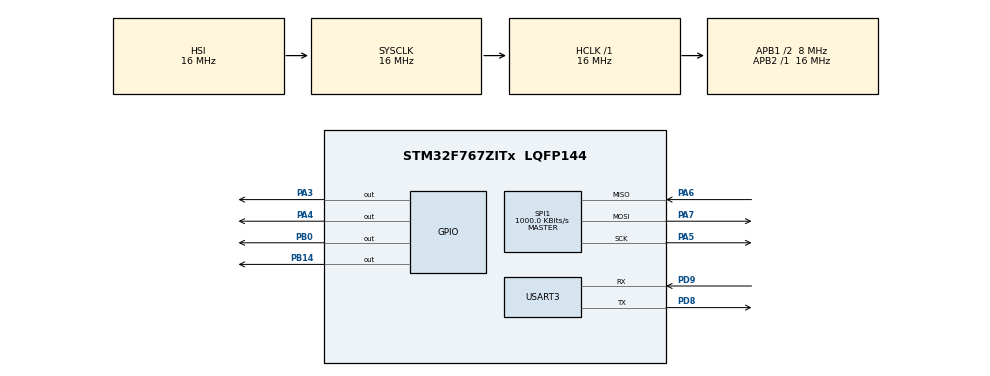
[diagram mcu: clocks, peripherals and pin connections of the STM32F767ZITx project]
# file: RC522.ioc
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Mcu.Family=STM32F7
Mcu.Name=STM32F767ZITx
Mcu.Package=LQFP144
NVIC.PriorityGroup=NVIC_PRIORITYGROUP_4
NVIC.USART3_IRQn=true\:0\:0\:false\:false\:true\:true\:true\:true
PA13.Mode=Serial_Wire
PA13.Signal=SYS_JTMS-SWDIO
PA14.Mode=Serial_Wire
PA14.Signal=SYS_JTCK-SWCLK
PA3.GPIO_Speed=GPIO_SPEED_FREQ_MEDIUM
PA3.Signal=GPIO_Output
PA4.GPIO_Speed=GPIO_SPEED_FREQ_HIGH
PA4.PinState=GPIO_PIN_SET
PA4.Signal=GPIO_Output
PA5.Mode=Full_Duplex_Master
PA5.Signal=SPI1_SCK
PA6.Mode=Full_Duplex_Master
PA6.Signal=SPI1_MISO
PA7.Mode=Full_Duplex_Master
PA7.Signal=SPI1_MOSI
PB0.Signal=GPIO_Output
PB14.Signal=GPIO_Output
PD8.Mode=Asynchronous
PD8.Signal=USART3_TX
PD9.Mode=Asynchronous
PD9.Signal=USART3_RX
PH0/OSC_IN.Mode=HSE-External-Clock-Source
PH0/OSC_IN.Signal=RCC_OSC_IN
PH1/OSC_OUT.Mode=HSE-External-Clock-Source
PH1/OSC_OUT.Signal=RCC_OSC_OUT
ProjectManager.HeapSize=0x200
ProjectManager.StackSize=0x400
ProjectManager.TargetToolchain=STM32CubeIDE
RCC.48MHZClocksFreq_Value=24000000
RCC.AHBFreq_Value=16000000
RCC.APB1CLKDivider=RCC_HCLK_DIV2
RCC.APB1Freq_Value=8000000
RCC.APB1TimFreq_Value=16000000
RCC.APB2Freq_Value=16000000
RCC.APB2TimFreq_Value=16000000
RCC.CortexFreq_Value=16000000
RCC.HCLKFreq_Value=16000000
RCC.HSE_VALUE=16000000
RCC.HSI_VALUE=16000000
RCC.LSE_VALUE=32768
RCC.PLLMUL=RCC_PLL_MUL9
RCC.PRESCALERUSB=RCC_USBCLKSOURCE_PLL_DIV1_5
RCC.SYSCLKFreq_VALUE=16000000
RCC.SYSCLKSourceVirtual=RCC_SYSCLKSOURCE_PLLCLK
RCC.USBFreq_Value=96000000
RCC.VCOOutputFreq_Value=192000000
SPI1.BaudRatePrescaler=SPI_BAUDRATEPRESCALER_16
SPI1.CalculateBaudRate=1000.0 KBits/s
SPI1.DataSize=SPI_DATASIZE_8BIT
SPI1.Direction=SPI_DIRECTION_2LINES
SPI1.Mode=SPI_MODE_MASTER
SPI1.VirtualType=VM_MASTER
USART3.VirtualMode-Asynchronous=VM_ASYNC
board=NUCLEO-F767ZI

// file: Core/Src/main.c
/* USER CODE BEGIN Header */
/**
  ******************************************************************************
  * @file           : main.c
  * @brief          : PROJ-2 RFID VERIFY (hardcoded password)
  ******************************************************************************
  */
/* USER CODE END Header */
#include "main.h"

/* USER CODE BEGIN Includes */
#include <stdio.h>
#include <string.h>
#include "MFRC522_STM32.h"
#include "MFRC522_MIFARE.h"
/* USER CODE END Includes */

/* USER CODE BEGIN PD */
/* ---------- USER SETTINGS ---------- */
#define TOKEN_BLOCK   4                 // Sector1, Block0 (safe data block)
static const char EXPECTED_PW[] = "furkan123";

/* USER CODE END PD */

SPI_HandleTypeDef hspi1;

UART_HandleTypeDef huart3;

void SystemClock_Config(void);
static void MX_GPIO_Init(void);
static void MX_SPI1_Init(void);
static void MX_USART3_UART_Init(void);

/* USER CODE BEGIN 0 */
static MFRC522_t rfid;

/* --- printf -> USART3 --- */
int _write(int fd, char *buf, int len)
{
    (void)fd;
    HAL_UART_Transmit(&huart3, (uint8_t*)buf, (uint16_t)len, 200);
    return len;
}

/* Token format: 'P','W',len,(ascii...) */
static int token_has_pw(const uint8_t t[16])
{
    if (t[0] != 'P' || t[1] != 'W') return 0;
    if (t[2] > 13) return 0;
    return 1;
}

static void token_get_pw(const uint8_t t[16], char out[14])
{
    memset(out, 0, 14);
    uint8_t n = t[2];
    if (n > 13) n = 13;
    memcpy(out, &t[3], n);
}

static void leds_ok(void)
{
    HAL_GPIO_WritePin(GPIOB, GPIO_PIN_0,  GPIO_PIN_SET);   // PB0 ON
    HAL_GPIO_WritePin(GPIOB, GPIO_PIN_14, GPIO_PIN_RESET); // PB14 OFF
}

static void leds_fail(void)
{
    HAL_GPIO_WritePin(GPIOB, GPIO_PIN_0,  GPIO_PIN_RESET); // PB0 OFF
    HAL_GPIO_WritePin(GPIOB, GPIO_PIN_14, GPIO_PIN_SET);   // PB14 ON
}

static void leds_idle(void)
{
    HAL_GPIO_WritePin(GPIOB, GPIO_PIN_0,  GPIO_PIN_RESET);
    HAL_GPIO_WritePin(GPIOB, GPIO_PIN_14, GPIO_PIN_RESET);
}

static void waitcardRemoval(void)
{
    uint8_t atqa[2];
    /* Card removal detection: keep trying REQA; once it fails consistently -> removed */
    uint32_t stableMiss = 0;
    while (1) {
        if (MFRC522_PICC_RequestA(&rfid, atqa) == STATUS_OK) {
            stableMiss = 0;
        } else {
            stableMiss++;
            if (stableMiss > 10) break; // ~10*50ms = 500ms
        }
        HAL_Delay(50);
    }
}

static void process_card_once_verify(void)
{
    uint8_t atqa[2] = {0};
    uint8_t uid_bcc[5] = {0};
    uint8_t uid4[4] = {0};
    uint8_t sak = 0;

    /* Try REQA; if card is halted, try WUPA */
    uint8_t st = MFRC522_PICC_RequestA(&rfid, atqa);
    if (st != STATUS_OK) {
        st = MFRC522_PICC_WakeupA(&rfid, atqa);
        if (st != STATUS_OK) return;
    }

    if (MFRC522_PICC_AnticollCL1(&rfid, uid_bcc) != STATUS_OK) return;

    memcpy(uid4, uid_bcc, 4);

    printf("\r\n[CARD] UID: %02X %02X %02X %02X\r\n", uid4[0],uid4[1],uid4[2],uid4[3]);
    printf("[CARD] ATQA: %02X %02X\r\n", atqa[0], atqa[1]);

    if (MFRC522_SelectCL1_GetSAK(&rfid, uid_bcc, &sak) != STATUS_OK) {
        printf("[CARD] SELECT FAIL\r\n");
        leds_fail();
        printf("[CARD] Kart kaldirilinca devam...\r\n");
        waitcardRemoval();
        return;
    }
    printf("[CARD] SAK: %02X\r\n", sak);

    /* AUTH + READ token */
    uint8_t keyA[6] = KEYA_DEFAULT_6B;
    uint8_t tok[16] = {0};

    if (MFRC522_MifareAuthKeyA(&rfid, TOKEN_BLOCK, keyA, uid4) != STATUS_OK) {
        printf("[AUTH] FAIL (Block %d)\r\n", TOKEN_BLOCK);
        leds_fail();
        MFRC522_StopCrypto1(&rfid);
        (void)MFRC522_PICC_HaltA(&rfid);
        printf("[CARD] Kart kaldirilinca devam...\r\n");
        waitcardRemoval();
        return;
    }

    if (MFRC522_MifareReadBlock16(&rfid, TOKEN_BLOCK, tok) != STATUS_OK) {
        printf("[READ] FAIL (Block %d)\r\n", TOKEN_BLOCK);
        leds_fail();
        MFRC522_StopCrypto1(&rfid);
        (void)MFRC522_PICC_HaltA(&rfid);
        printf("[CARD] Kart kaldirilinca devam...\r\n");
        waitcardRemoval();
        return;
    }

    if (!token_has_pw(tok)) {
        printf("[CARD] TOKEN YOK (Block %d)\r\n", TOKEN_BLOCK);
        leds_fail();
    } else {
        char pw[14];
        token_get_pw(tok, pw);
        printf("TOKEN(PW): %s\r\n", pw);

        if (strcmp(pw, EXPECTED_PW) == 0) {
            printf("[CHECK] SIFRE DOGRU -> PB0 ON\r\n");
            leds_ok();
        } else {
            printf("[CHECK] SIFRE YANLIS -> PB14 ON\r\n");
            leds_fail();
        }
    }

    MFRC522_StopCrypto1(&rfid);
    (void)MFRC522_PICC_HaltA(&rfid);

    printf("[CARD] Kart kaldirilinca devam...\r\n");
    waitcardRemoval();
}

/* USER CODE END 0 */

int main(void)
{

  /* MCU Configuration--------------------------------------------------------*/

  /* Reset of all peripherals, Initializes the Flash interface and the Systick. */
  HAL_Init();

  /* Configure the system clock */
  SystemClock_Config();

  /* Initialize all configured peripherals */
  MX_GPIO_Init();
  MX_SPI1_Init();
  MX_USART3_UART_Init();
  /* USER CODE BEGIN 2 */
  HAL_GPIO_WritePin(GPIOA, GPIO_PIN_4, GPIO_PIN_SET); // CS high at boot

    rfid.hspi    = &hspi1;
    rfid.csPort  = GPIOA;
    rfid.csPin   = GPIO_PIN_4;   // CS = PA4
    rfid.rstPort = GPIOA;
    rfid.rstPin  = GPIO_PIN_3;   // RST = PA3

    MFRC522_Init(&rfid);

    leds_idle();

    printf("\r\n=== PROJ-2 RFID VERIFY (HARDCODED PW) ===\r\n");
    printf("EXPECTED_PW = %s\r\n", EXPECTED_PW);
    printf("Token block = %d\r\n", TOKEN_BLOCK);
    printf("Kart okut -> token oku -> karsilastir -> PB0/PB14\r\n");

  /* USER CODE END 2 */

  /* Infinite loop */
  while (1)
  {

    /* USER CODE BEGIN 3 */

      process_card_once_verify();
      HAL_Delay(50);

  }
  /* USER CODE END 3 */
}

void SystemClock_Config(void)
{
  RCC_OscInitTypeDef RCC_OscInitStruct = {0};
  RCC_ClkInitTypeDef RCC_ClkInitStruct = {0};

  /** Configure the main internal regulator output voltage
  */
  __HAL_RCC_PWR_CLK_ENABLE();
  __HAL_PWR_VOLTAGESCALING_CONFIG(PWR_REGULATOR_VOLTAGE_SCALE3);

  /** Initializes the RCC Oscillators according to the specified parameters
  * in the RCC_OscInitTypeDef structure.
  */
  RCC_OscInitStruct.OscillatorType = RCC_OSCILLATORTYPE_HSI;
  RCC_OscInitStruct.HSIState = RCC_HSI_ON;
  RCC_OscInitStruct.HSICalibrationValue = RCC_HSICALIBRATION_DEFAULT;
  RCC_OscInitStruct.PLL.PLLState = RCC_PLL_NONE;
  if (HAL_RCC_OscConfig(&RCC_OscInitStruct) != HAL_OK)
  {
    Error_Handler();
  }

  /** Initializes the CPU, AHB and APB buses clocks
  */
  RCC_ClkInitStruct.ClockType = RCC_CLOCKTYPE_HCLK|RCC_CLOCKTYPE_SYSCLK
                              |RCC_CLOCKTYPE_PCLK1|RCC_CLOCKTYPE_PCLK2;
  RCC_ClkInitStruct.SYSCLKSource = RCC_SYSCLKSOURCE_HSI;
  RCC_ClkInitStruct.AHBCLKDivider = RCC_SYSCLK_DIV1;
  RCC_ClkInitStruct.APB1CLKDivider = RCC_HCLK_DIV2;
  RCC_ClkInitStruct.APB2CLKDivider = RCC_HCLK_DIV1;

  if (HAL_RCC_ClockConfig(&RCC_ClkInitStruct, FLASH_LATENCY_0) != HAL_OK)
  {
    Error_Handler();
  }
}

static void MX_SPI1_Init(void)
{

  /* SPI1 parameter configuration*/
  hspi1.Instance = SPI1;
  hspi1.Init.Mode = SPI_MODE_MASTER;
  hspi1.Init.Direction = SPI_DIRECTION_2LINES;
  hspi1.Init.DataSize = SPI_DATASIZE_8BIT;
  hspi1.Init.CLKPolarity = SPI_POLARITY_LOW;
  hspi1.Init.CLKPhase = SPI_PHASE_1EDGE;
  hspi1.Init.NSS = SPI_NSS_SOFT;
  hspi1.Init.BaudRatePrescaler = SPI_BAUDRATEPRESCALER_16;
  hspi1.Init.FirstBit = SPI_FIRSTBIT_MSB;
  hspi1.Init.TIMode = SPI_TIMODE_DISABLE;
  hspi1.Init.CRCCalculation = SPI_CRCCALCULATION_DISABLE;
  hspi1.Init.CRCPolynomial = 7;
  hspi1.Init.CRCLength = SPI_CRC_LENGTH_DATASIZE;
  hspi1.Init.NSSPMode = SPI_NSS_PULSE_ENABLE;
  if (HAL_SPI_Init(&hspi1) != HAL_OK)
  {
    Error_Handler();
  }

}

static void MX_USART3_UART_Init(void)
{

  huart3.Instance = USART3;
  huart3.Init.BaudRate = 115200;
  huart3.Init.WordLength = UART_WORDLENGTH_8B;
  huart3.Init.StopBits = UART_STOPBITS_1;
  huart3.Init.Parity = UART_PARITY_NONE;
  huart3.Init.Mode = UART_MODE_TX_RX;
  huart3.Init.HwFlowCtl = UART_HWCONTROL_NONE;
  huart3.Init.OverSampling = UART_OVERSAMPLING_16;
  huart3.Init.OneBitSampling = UART_ONE_BIT_SAMPLE_DISABLE;
  huart3.AdvancedInit.AdvFeatureInit = UART_ADVFEATURE_NO_INIT;
  if (HAL_UART_Init(&huart3) != HAL_OK)
  {
    Error_Handler();
  }

}

static void MX_GPIO_Init(void)
{
  GPIO_InitTypeDef GPIO_InitStruct = {0};

  /* GPIO Ports Clock Enable */
  __HAL_RCC_GPIOH_CLK_ENABLE();
  __HAL_RCC_GPIOA_CLK_ENABLE();
  __HAL_RCC_GPIOB_CLK_ENABLE();
  __HAL_RCC_GPIOD_CLK_ENABLE();

  /*Configure GPIO pin Output Level */
  HAL_GPIO_WritePin(GPIOA, GPIO_PIN_3, GPIO_PIN_RESET);

  /*Configure GPIO pin Output Level */
  HAL_GPIO_WritePin(GPIOA, GPIO_PIN_4, GPIO_PIN_SET);

  /*Configure GPIO pin Output Level */
  HAL_GPIO_WritePin(GPIOB, GPIO_PIN_0|GPIO_PIN_14, GPIO_PIN_RESET);

  /*Configure GPIO pin : PA3 */
  GPIO_InitStruct.Pin = GPIO_PIN_3;
  GPIO_InitStruct.Mode = GPIO_MODE_OUTPUT_PP;
  GPIO_InitStruct.Pull = GPIO_NOPULL;
  GPIO_InitStruct.Speed = GPIO_SPEED_FREQ_MEDIUM;
  HAL_GPIO_Init(GPIOA, &GPIO_InitStruct);

  /*Configure GPIO pin : PA4 */
  GPIO_InitStruct.Pin = GPIO_PIN_4;
  GPIO_InitStruct.Mode = GPIO_MODE_OUTPUT_PP;
  GPIO_InitStruct.Pull = GPIO_NOPULL;
  GPIO_InitStruct.Speed = GPIO_SPEED_FREQ_HIGH;
  HAL_GPIO_Init(GPIOA, &GPIO_InitStruct);

  /*Configure GPIO pins : PB0 PB14 */
  GPIO_InitStruct.Pin = GPIO_PIN_0|GPIO_PIN_14;
  GPIO_InitStruct.Mode = GPIO_MODE_OUTPUT_PP;
  GPIO_InitStruct.Pull = GPIO_NOPULL;
  GPIO_InitStruct.Speed = GPIO_SPEED_FREQ_LOW;
  HAL_GPIO_Init(GPIOB, &GPIO_InitStruct);

}

void Error_Handler(void)
{
  __disable_irq();
  while (1)
  {
  }
}
